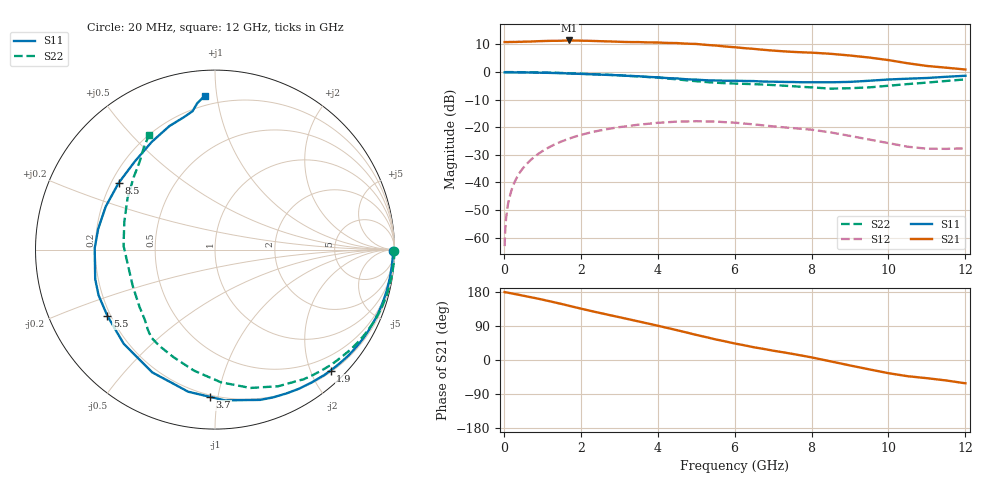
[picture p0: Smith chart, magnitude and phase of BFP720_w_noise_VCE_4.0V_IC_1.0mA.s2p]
! Infineon Technologies  Discrete & RF Semiconductors
! BFP720
! VCE =  4.0 V,  IC =  1.0 mA
! Common Emitter S-Parameters:  Aug 2012
# GHz  S  MA  R  50
!  f  S11  S21  S12  S22
! GHz  MAG  ANG  MAG  ANG  MAG  ANG  MAG  ANG
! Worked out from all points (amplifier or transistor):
!   104 points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, 20 MHz to 12 GHz, reference 50 ohm
!   highest |S21| = 11.5 dB at 1.7 GHz (marker M1)
!   |S21| within 3 dB of that: start of sweep to 6.447 GHz
!   unconditionally stable (mu >= 1): 8.167 GHz to 11.88 GHz
!   at 350 MHz: K = 0.02, MSG = 24.4 dB, |S12| = -37.9 dB
!   at 3.7 GHz: K = 0.26, MSG = 14.8 dB, |S12| = -18.8 dB
!   at 12 GHz: K = 0.89, MSG = 14.3 dB, |S12| = -27.6 dB
!   lowest NFmin = 0.50 dB at 450 MHz
!   S11 on the Smith chart (normalised r, x): 20 MHz: open; 1.9 GHz: 0.23, -2.32; 3.7 GHz: 0.19, -0.95; 5.5 GHz: 0.19, -0.27; 8.5 GHz: 0.23, +0.30; 12 GHz: 0.14, +0.92
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0.02  0.9909 -0.4  3.5 179.2  0.0007 85.2  0.9986 -0.3
0.05  0.9903 -1.1  3.502 178.6  0.0019 78.9  0.9979 -0.9
0.11  0.991 -2.5  3.496 177.7  0.0041 83.5  0.9988 -2.0
0.25  0.9894 -5.6  3.52 174.8  0.0091 84.0  0.9983 -4.4
0.4  0.9871 -9.0  3.547 171.9  0.0146 82.8  0.9962 -7.2
1.1  0.9696 -25.7  3.663 157.1  0.0406 70.3  0.9811 -20.0
1.7  0.9425 -41.3  3.741 142.9  0.0624 58.2  0.9525 -31.5
1.9  0.9317 -46.3  3.722 138.1  0.0692 54.1  0.9417 -35.3
2.1  0.9204 -51.3  3.695 133.3  0.0756 49.8  0.9288 -39.0
2.8  0.8849 -68.5  3.582 117.4  0.0955 35.9  0.8869 -51.9
3.7  0.8211 -91.9  3.455 97.3  0.1147 18.1  0.818 -69.3
4.1  0.7932 -103.8  3.407 88.2  0.1215 10.3  0.7818 -77.9
4.5  0.7683 -117.1  3.356 78.7  0.1268 2.4  0.7405 -87.4
5  0.7306 -134.1  3.235 66.3  0.1289 -8.1  0.6841 -99.9
5.5  0.7042 -148.3  3.033 54.4  0.127 -18.1  0.6425 -111.0
6.1  0.694 -160.1  2.777 41.7  0.1194 -28.6  0.6164 -121.0
7  0.6703 179.3  2.452 24.6  0.1038 -41.0  0.5821 -130.0
8.5  0.6528 145.3  2.143 -3.7  0.0806 -57.8  0.5011 -156.2
9.5  0.6961 120.4  1.834 -24.7  0.0599 -62.5  0.5283 163.0
10  0.7335 110.3  1.649 -34.8  0.0516 -62.1  0.5655 149.5
10.5  0.7589 103.0  1.444 -42.8  0.0444 -57.5  0.6063 138.4
12  0.8576 93.9  1.113 -61.5  0.0415 -38.6  0.7369 119.9
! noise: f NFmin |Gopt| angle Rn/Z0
0.45  0.5  0.77  6  0.47
1.8  0.64  0.73  31  0.38
2.4  0.76  0.64  82  0.29
5.5  1.17  0.53  99  0.14
10  1.87  0.55  -118  0.28
